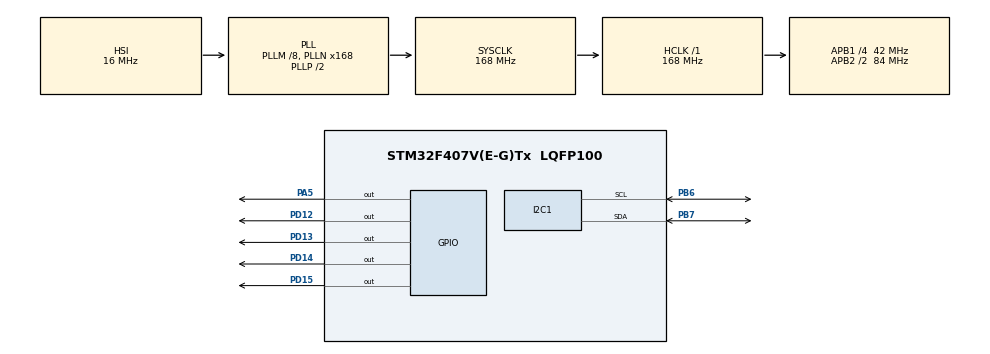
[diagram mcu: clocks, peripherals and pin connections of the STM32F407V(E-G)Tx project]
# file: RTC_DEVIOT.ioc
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Mcu.Family=STM32F4
Mcu.Name=STM32F407V(E-G)Tx
Mcu.Package=LQFP100
NVIC.PriorityGroup=NVIC_PRIORITYGROUP_4
NVIC.RTC_Alarm_IRQn=true\:0\:0\:false\:false\:true\:true\:true
PA13.Mode=Serial_Wire
PA13.Signal=SYS_JTMS-SWDIO
PA14.Mode=Serial_Wire
PA14.Signal=SYS_JTCK-SWCLK
PA5.PinState=GPIO_PIN_SET
PA5.Signal=GPIO_Output
PB6.Mode=I2C
PB6.Signal=I2C1_SCL
PB7.Mode=I2C
PB7.Signal=I2C1_SDA
PC14-OSC32_IN.Mode=LSE-External-Clock-Source
PC14-OSC32_IN.Signal=RCC_OSC32_IN
PC15-OSC32_OUT.Mode=LSE-External-Clock-Source
PC15-OSC32_OUT.Signal=RCC_OSC32_OUT
PD12.Signal=GPIO_Output
PD13.Signal=GPIO_Output
PD14.Signal=GPIO_Output
PD15.Signal=GPIO_Output
ProjectManager.HeapSize=0x200
ProjectManager.StackSize=0x400
ProjectManager.TargetToolchain=MDK-ARM V5
RCC.48MHZClocksFreq_Value=84000000
RCC.AHBFreq_Value=168000000
RCC.APB1CLKDivider=RCC_HCLK_DIV4
RCC.APB1Freq_Value=42000000
RCC.APB1TimFreq_Value=84000000
RCC.APB2CLKDivider=RCC_HCLK_DIV2
RCC.APB2Freq_Value=84000000
RCC.APB2TimFreq_Value=168000000
RCC.CortexFreq_Value=168000000
RCC.HCLKFreq_Value=168000000
RCC.HSE_VALUE=25000000
RCC.HSI_VALUE=16000000
RCC.LSE_VALUE=32768
RCC.PLLM=8
RCC.PLLN=168
RCC.SYSCLKFreq_VALUE=168000000
RCC.SYSCLKSource=RCC_SYSCLKSOURCE_PLLCLK
RCC.VCOOutputFreq_Value=336000000
RTC.Alarm=RTC_ALARM_A
RTC.AlarmDateWeekDay=11
RTC.Date=11
RTC.Hours=12
RTC.Hours_A=12
RTC.Minutes_A=1
RTC.Year=22
VP_RTC_VS_RTC_Activate.Mode=RTC_Enabled
VP_RTC_VS_RTC_Alarm_A_Intern.Mode=Alarm A
VP_RTC_VS_RTC_Calendar.Mode=RTC_Calendar
board=custom

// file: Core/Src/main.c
/* USER CODE BEGIN Header */
/**
  ******************************************************************************
  * @file           : main.c
  * @brief          : Main program body
  ******************************************************************************
  * @attention
  *
  * Copyright (c) 2022 STMicroelectronics.
  * All rights reserved.
  *
  * This software is licensed under terms that can be found in the LICENSE file
  * in the root directory of this software component.
  * If no LICENSE file comes with this software, it is provided AS-IS.
  *
  ******************************************************************************
  */
/* USER CODE END Header */
#include "main.h"

/* USER CODE BEGIN Includes */

#include "i2c-lcd.h"

/* USER CODE END Includes */

I2C_HandleTypeDef hi2c1;

RTC_HandleTypeDef hrtc;

/* USER CODE BEGIN PV */

RTC_TimeTypeDef sTime;
RTC_DateTypeDef sDate;
RTC_AlarmTypeDef sAlarm;

uint8_t alarm = 0;

/* USER CODE END PV */

void SystemClock_Config(void);
static void MX_GPIO_Init(void);
static void MX_RTC_Init(void);
static void MX_I2C1_Init(void);

/* USER CODE BEGIN 0 */

void setTime(void){
	sTime.Hours=12;
	sTime.Minutes=0;
	sTime.Seconds=55;
	HAL_RTC_SetTime(&hrtc,&sTime,RTC_FORMAT_BIN);
}

void setDate(){
	sDate.WeekDay = RTC_WEEKDAY_SATURDAY;
	sDate.Date=11;
	sDate.Month=RTC_MONTH_MARCH;
	sDate.Year = 22;
	HAL_RTC_SetDate(&hrtc,&sDate,RTC_FORMAT_BIN);
}

void getTime(){
	HAL_RTC_GetTime(&hrtc,&sTime,RTC_FORMAT_BIN);
}

void getDate(){
	 HAL_RTC_GetDate(&hrtc,&sDate,RTC_FORMAT_BIN);
}

void DisplayTimeAndDate (void)
{
	char time[10];
	char date[10];

	/* Display time Format: hh:mm:ss */
  sprintf((char*)time,"%02d:%02d:%02d",sTime.Hours, sTime.Minutes, sTime.Seconds);

  /* Display date Format: mm-dd-yy */
  sprintf((char*)date,"%02d-%02d-%2d",sDate.Date, sDate.Month, 2000 + sDate.Year);  // I like the date first

	LCD_Send_Cmd (0x80);	//row=1, column=1
	LCD_Write_String (time);
	LCD_Send_Cmd (0xc0);	//row=2, column=1
	LCD_Write_String (date);
}

void HAL_RTC_AlarmAEventCallback(RTC_HandleTypeDef *hrtc)
{
	alarm = 1;
}

void to_do_on_alarm (void)
{
	HAL_GPIO_WritePin (GPIOA, GPIO_PIN_5, GPIO_PIN_RESET);  // set led ON
	HAL_GPIO_WritePin (GPIOD, GPIO_PIN_12|GPIO_PIN_13, GPIO_PIN_SET);
	LCD_Send_Cmd (0x80);
	LCD_Write_String ("SUBSCRIBE TO");
	LCD_Send_Cmd (0xc0);
	LCD_Write_String ("this CHANNEL");
	HAL_Delay (3000);

	LCD_Send_Cmd (0x80);
	for (int i=0;i<60;i++)
	{
		LCD_Write_Char (' ');  // clear lcd
	}

	HAL_GPIO_WritePin (GPIOA, GPIO_PIN_5, GPIO_PIN_SET);  // set led OFF
	HAL_GPIO_WritePin (GPIOD, GPIO_PIN_12|GPIO_PIN_13, GPIO_PIN_RESET);
}

/* USER CODE END 0 */

int main(void)
{

  /* MCU Configuration--------------------------------------------------------*/

  /* Reset of all peripherals, Initializes the Flash interface and the Systick. */
  HAL_Init();

  /* Configure the system clock */
  SystemClock_Config();

  /* Initialize all configured peripherals */
  MX_GPIO_Init();
  MX_RTC_Init();
  MX_I2C1_Init();
  /* USER CODE BEGIN 2 */

	LCD_Init();

	 setTime();
	 setDate();

  /* USER CODE END 2 */

  /* Infinite loop */
  while (1)
  {

    /* USER CODE BEGIN 3 */

		getTime();
		getDate();

		DisplayTimeAndDate();

		HAL_GPIO_TogglePin(GPIOD,GPIO_PIN_15);
		HAL_Delay(200);

		if(alarm == 1)
		{
			to_do_on_alarm();
			alarm=0;
		}

  }
  /* USER CODE END 3 */
}

void SystemClock_Config(void)
{
  RCC_OscInitTypeDef RCC_OscInitStruct = {0};
  RCC_ClkInitTypeDef RCC_ClkInitStruct = {0};

  /** Configure the main internal regulator output voltage
  */
  __HAL_RCC_PWR_CLK_ENABLE();
  __HAL_PWR_VOLTAGESCALING_CONFIG(PWR_REGULATOR_VOLTAGE_SCALE1);
  /** Initializes the RCC Oscillators according to the specified parameters
  * in the RCC_OscInitTypeDef structure.
  */
  RCC_OscInitStruct.OscillatorType = RCC_OSCILLATORTYPE_HSI|RCC_OSCILLATORTYPE_LSI;
  RCC_OscInitStruct.HSIState = RCC_HSI_ON;
  RCC_OscInitStruct.HSICalibrationValue = RCC_HSICALIBRATION_DEFAULT;
  RCC_OscInitStruct.LSIState = RCC_LSI_ON;
  RCC_OscInitStruct.PLL.PLLState = RCC_PLL_ON;
  RCC_OscInitStruct.PLL.PLLSource = RCC_PLLSOURCE_HSI;
  RCC_OscInitStruct.PLL.PLLM = 8;
  RCC_OscInitStruct.PLL.PLLN = 168;
  RCC_OscInitStruct.PLL.PLLP = RCC_PLLP_DIV2;
  RCC_OscInitStruct.PLL.PLLQ = 4;
  if (HAL_RCC_OscConfig(&RCC_OscInitStruct) != HAL_OK)
  {
    Error_Handler();
  }
  /** Initializes the CPU, AHB and APB buses clocks
  */
  RCC_ClkInitStruct.ClockType = RCC_CLOCKTYPE_HCLK|RCC_CLOCKTYPE_SYSCLK
                              |RCC_CLOCKTYPE_PCLK1|RCC_CLOCKTYPE_PCLK2;
  RCC_ClkInitStruct.SYSCLKSource = RCC_SYSCLKSOURCE_PLLCLK;
  RCC_ClkInitStruct.AHBCLKDivider = RCC_SYSCLK_DIV1;
  RCC_ClkInitStruct.APB1CLKDivider = RCC_HCLK_DIV4;
  RCC_ClkInitStruct.APB2CLKDivider = RCC_HCLK_DIV2;

  if (HAL_RCC_ClockConfig(&RCC_ClkInitStruct, FLASH_LATENCY_5) != HAL_OK)
  {
    Error_Handler();
  }
}

static void MX_I2C1_Init(void)
{

  hi2c1.Instance = I2C1;
  hi2c1.Init.ClockSpeed = 100000;
  hi2c1.Init.DutyCycle = I2C_DUTYCYCLE_2;
  hi2c1.Init.OwnAddress1 = 0;
  hi2c1.Init.AddressingMode = I2C_ADDRESSINGMODE_7BIT;
  hi2c1.Init.DualAddressMode = I2C_DUALADDRESS_DISABLE;
  hi2c1.Init.OwnAddress2 = 0;
  hi2c1.Init.GeneralCallMode = I2C_GENERALCALL_DISABLE;
  hi2c1.Init.NoStretchMode = I2C_NOSTRETCH_DISABLE;
  if (HAL_I2C_Init(&hi2c1) != HAL_OK)
  {
    Error_Handler();
  }

}

static void MX_RTC_Init(void)
{

  RTC_TimeTypeDef sTime = {0};
  RTC_DateTypeDef sDate = {0};
  RTC_AlarmTypeDef sAlarm = {0};

  /** Initialize RTC Only
  */
  hrtc.Instance = RTC;
  hrtc.Init.HourFormat = RTC_HOURFORMAT_24;
  hrtc.Init.AsynchPrediv = 127;
  hrtc.Init.SynchPrediv = 255;
  hrtc.Init.OutPut = RTC_OUTPUT_DISABLE;
  hrtc.Init.OutPutPolarity = RTC_OUTPUT_POLARITY_HIGH;
  hrtc.Init.OutPutType = RTC_OUTPUT_TYPE_OPENDRAIN;
  if (HAL_RTC_Init(&hrtc) != HAL_OK)
  {
    Error_Handler();
  }

  /** Initialize RTC and set the Time and Date
  */
  sTime.Hours = 0x12;
  sTime.Minutes = 0x0;
  sTime.Seconds = 0x0;
  sTime.DayLightSaving = RTC_DAYLIGHTSAVING_NONE;
  sTime.StoreOperation = RTC_STOREOPERATION_RESET;
  if (HAL_RTC_SetTime(&hrtc, &sTime, RTC_FORMAT_BCD) != HAL_OK)
  {
    Error_Handler();
  }
  sDate.WeekDay = RTC_WEEKDAY_MONDAY;
  sDate.Month = RTC_MONTH_JANUARY;
  sDate.Date = 0x11;
  sDate.Year = 0x22;

  if (HAL_RTC_SetDate(&hrtc, &sDate, RTC_FORMAT_BCD) != HAL_OK)
  {
    Error_Handler();
  }
  /** Enable the Alarm A
  */
  sAlarm.AlarmTime.Hours = 0x12;
  sAlarm.AlarmTime.Minutes = 0x01;
  sAlarm.AlarmTime.Seconds = 0x10;
  sAlarm.AlarmTime.SubSeconds = 0x0;
  sAlarm.AlarmTime.DayLightSaving = RTC_DAYLIGHTSAVING_NONE;
  sAlarm.AlarmTime.StoreOperation = RTC_STOREOPERATION_RESET;
  sAlarm.AlarmMask = RTC_ALARMMASK_NONE;
  sAlarm.AlarmSubSecondMask = RTC_ALARMSUBSECONDMASK_ALL;
  sAlarm.AlarmDateWeekDaySel = RTC_ALARMDATEWEEKDAYSEL_DATE;
  sAlarm.AlarmDateWeekDay = 0x11;
  sAlarm.Alarm = RTC_ALARM_A;
  if (HAL_RTC_SetAlarm_IT(&hrtc, &sAlarm, RTC_FORMAT_BCD) != HAL_OK)
  {
    Error_Handler();
  }

}

static void MX_GPIO_Init(void)
{
  GPIO_InitTypeDef GPIO_InitStruct = {0};

  /* GPIO Ports Clock Enable */
  __HAL_RCC_GPIOC_CLK_ENABLE();
  __HAL_RCC_GPIOA_CLK_ENABLE();
  __HAL_RCC_GPIOD_CLK_ENABLE();
  __HAL_RCC_GPIOB_CLK_ENABLE();

  /*Configure GPIO pin Output Level */
  HAL_GPIO_WritePin(GPIOA, GPIO_PIN_5, GPIO_PIN_SET);

  /*Configure GPIO pin Output Level */
  HAL_GPIO_WritePin(GPIOD, GPIO_PIN_12|GPIO_PIN_13|GPIO_PIN_14|GPIO_PIN_15, GPIO_PIN_RESET);

  /*Configure GPIO pin : PA5 */
  GPIO_InitStruct.Pin = GPIO_PIN_5;
  GPIO_InitStruct.Mode = GPIO_MODE_OUTPUT_PP;
  GPIO_InitStruct.Pull = GPIO_NOPULL;
  GPIO_InitStruct.Speed = GPIO_SPEED_FREQ_LOW;
  HAL_GPIO_Init(GPIOA, &GPIO_InitStruct);

  /*Configure GPIO pins : PD12 PD13 PD14 PD15 */
  GPIO_InitStruct.Pin = GPIO_PIN_12|GPIO_PIN_13|GPIO_PIN_14|GPIO_PIN_15;
  GPIO_InitStruct.Mode = GPIO_MODE_OUTPUT_PP;
  GPIO_InitStruct.Pull = GPIO_NOPULL;
  GPIO_InitStruct.Speed = GPIO_SPEED_FREQ_LOW;
  HAL_GPIO_Init(GPIOD, &GPIO_InitStruct);

}

void Error_Handler(void)
{
  __disable_irq();
  while (1)
  {
  }
}
